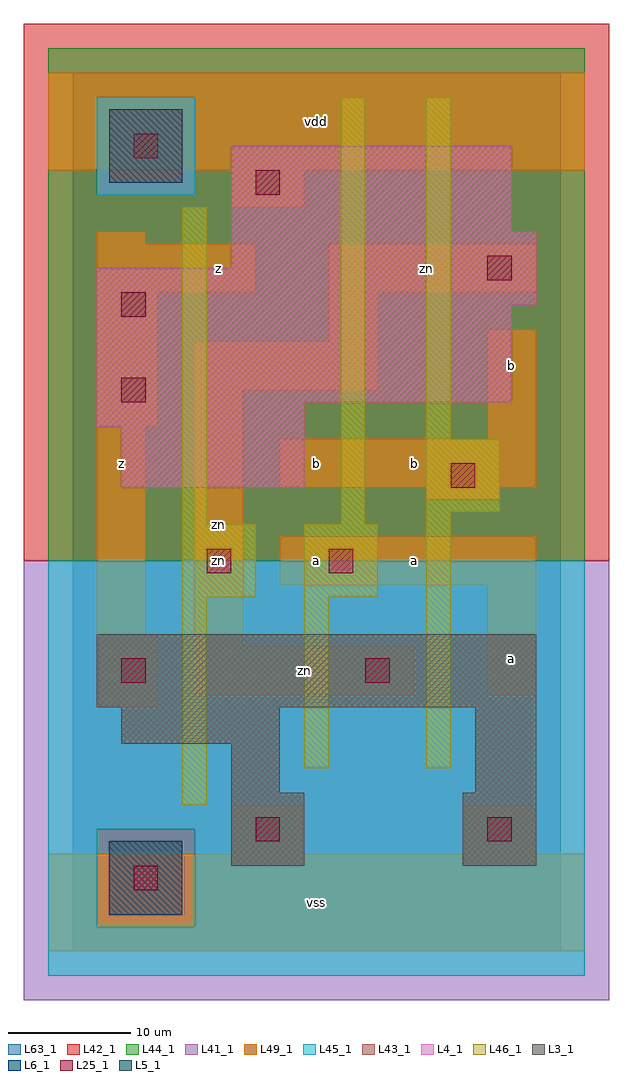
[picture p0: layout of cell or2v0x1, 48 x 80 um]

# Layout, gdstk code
import gdstk
lib = gdstk.Library(unit=1e-6, precision=1e-09)
def R(c, l, rs):  # rectangles x0, y0, x1, y1
    for r in rs: c.add(gdstk.rectangle(r[:2], r[2:], *l))
L3_1 = (3, 1)
L4_1 = (4, 1)
L5_1 = (5, 1)
L6_1 = (6, 1)
L25_1 = (25, 1)
L41_1 = (41, 1)
L42_1 = (42, 1)
L43_1 = (43, 1)
L44_1 = (44, 1)
L45_1 = (45, 1)
L46_1 = (46, 1)
L49_1 = (49, 1)
L63_1 = (63, 1)

or2v0x1 = lib.new_cell('or2v0x1')
R(or2v0x1, L3_1, [(13,7,19,13), (32,7,38,13), (13,13,17,17), (33,13,38,20), (4,17,17,20), (2,20,38,26)])
R(or2v0x1, L4_1, [(4,38,19,43), (2,43,19,45), (2,45,36,53), (2,53,38,56), (13,56,38,59), (13,59,36,66)])
R(or2v0x1, L5_1, [(3,63,9,69)])
R(or2v0x1, L6_1, [(3,3,9,9), (3,3,9,9)])
R(or2v0x1, L25_1, [(5,5,7,7), (15,9,17,11), (34,9,36,11), (4,22,6,24), (24,22,26,24), (11,31,13,33), (21,31,23,33), (31,38,33,40), (4,45,6,47), (4,52,6,54), (34,55,36,57), (15,62,17,64), (5,65,7,67)])
R(or2v0x1, L41_1, [(-4,-4,44,32)])
R(or2v0x1, L42_1, [(-4,32,44,76)])
R(or2v0x1, L43_1, [(3,3,9,9), (13,7,19,13), (32,7,38,13), (13,13,17,17), (33,13,38,20), (4,17,17,20), (2,20,38,26), (4,38,19,43), (2,43,19,45), (2,45,36,53), (2,53,38,56), (13,56,38,59), (13,59,36,66), (3,63,9,69)])
R(or2v0x1, L44_1, [(2,2,10,10), (-2,32,42,62), (-2,62,2,70), (10,62,42,70), (-2,70,42,74)])
R(or2v0x1, L45_1, [(-2,-2,42,2), (-2,2,2,10), (10,2,42,10), (-2,10,42,32), (2,62,10,70)])
R(or2v0x1, L46_1, [(9,12,11,29), (19,15,21,29), (29,15,31,36), (9,29,15,35), (19,29,25,35), (9,35,11,61), (22,35,24,70), (29,36,35,42), (29,42,31,70)])
R(or2v0x1, L49_1, [(-2,0,42,8), (13,8,19,12), (32,8,38,12), (2,20,7,26), (10,21,28,25), (34,21,38,30), (10,25,14,46), (2,26,6,43), (17,30,38,34), (29,37,35,38), (17,38,38,42), (34,42,38,51), (2,43,7,54), (10,46,25,50), (21,50,25,54), (2,54,15,58), (21,54,38,58), (2,58,6,59), (13,61,19,64), (-2,64,42,72)])
R(or2v0x1, L63_1, [(0,0,40,72)])
or2v0x1.add(gdstk.Label('zn', (12,32), layer=49, texttype=1))
or2v0x1.add(gdstk.Label('z', (4,40), layer=49, texttype=1))
or2v0x1.add(gdstk.Label('zn', (12,35), layer=49, texttype=1))
or2v0x1.add(gdstk.Label('z', (12,56), layer=49, texttype=1))
or2v0x1.add(gdstk.Label('vss', (20,4), layer=49, texttype=1))
or2v0x1.add(gdstk.Label('a', (20,32), layer=49, texttype=1))
or2v0x1.add(gdstk.Label('zn', (19,23), layer=49, texttype=1))
or2v0x1.add(gdstk.Label('a', (28,32), layer=49, texttype=1))
or2v0x1.add(gdstk.Label('b', (28,40), layer=49, texttype=1))
or2v0x1.add(gdstk.Label('b', (20,40), layer=49, texttype=1))
or2v0x1.add(gdstk.Label('vdd', (20,68), layer=49, texttype=1))
or2v0x1.add(gdstk.Label('a', (36,24), layer=49, texttype=1))
or2v0x1.add(gdstk.Label('b', (36,48), layer=49, texttype=1))
or2v0x1.add(gdstk.Label('zn', (29,56), layer=49, texttype=1))

lib.write_gds('or2v0x1.gds')
